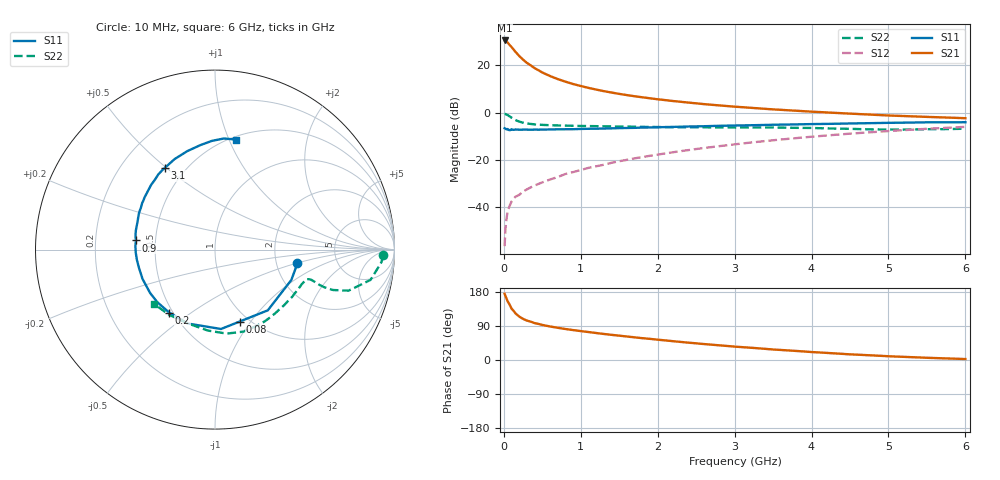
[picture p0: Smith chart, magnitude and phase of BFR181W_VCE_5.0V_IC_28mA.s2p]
! Infineon Technologies  Discrete & RF Semiconductors
! BFR181W
! VCE =  5.0 V,  IC =  28 mA
! Common Emitter S-Parameters:  Jan 2017
# GHz  S  MA  R  50
!  f  S11  S21  S12  S22
! GHz  MAG  ANG  MAG  ANG  MAG  ANG  MAG  ANG
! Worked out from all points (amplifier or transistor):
!   77 points, 10 MHz to 6 GHz, reference 50 ohm
!   highest |S21| = 30.5 dB at 10 MHz (marker M1)
!   |S21| within 3 dB of that: start of sweep to 105.8 MHz
!   unconditionally stable (mu >= 1): 389.9 MHz to 2.503 GHz
!   at 130 MHz: K = 0.56, MSG = 31.4 dB, |S12| = -36.4 dB
!   at 2.2 GHz: K = 1.05, MAG = 9.5 dB, |S12| = -16.8 dB
!   at 6 GHz: K = 0.89, MSG = 1.8 dB, |S12| = -6.1 dB
!   S11 on the Smith chart (normalised r, x): 10 MHz: 2.63, -0.52; 80 MHz: 0.91, -0.89; 200 MHz: 0.48, -0.41; 900 MHz: 0.39, +0.05; 3.1 GHz: 0.39, +0.50; 6 GHz: 0.53, +1.06
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0.01  0.4658 -9.5  33.33 175.0  0.0015 90.7  0.9378 -1.9
0.02  0.4577 -21.7  32.79 169.1  0.0033 88.7  0.9301 -4.3
0.05  0.4484 -49.0  30.09 154.6  0.0081 72.6  0.883 -11.0
0.08  0.4237 -71.0  26.2 144.1  0.0111 67.9  0.8189 -14.5
0.1  0.4435 -85.7  24.22 135.5  0.0131 66.0  0.7781 -17.1
0.15  0.439 -110.3  19.28 123.2  0.0166 60.1  0.6954 -18.9
0.2  0.4338 -126.1  15.65 114.6  0.0182 60.4  0.6426 -19.0
0.25  0.4349 -137.8  13.09 108.5  0.0214 61.7  0.6105 -18.6
0.3  0.4349 -146.3  11.2 104.0  0.0238 62.4  0.5869 -18.0
0.4  0.4355 -157.9  8.66 97.4  0.0287 66.4  0.5614 -17.4
0.5  0.4356 -166.3  7.01 92.5  0.0334 68.6  0.5484 -17.5
0.6  0.439 -172.7  5.909 88.5  0.0384 70.7  0.5395 -17.8
0.7  0.4419 -177.9  5.097 85.0  0.0433 73.2  0.5334 -18.5
0.9  0.444 173.4  4.005 79.0  0.0551 75.9  0.5247 -20.6
1.1  0.4536 166.5  3.318 73.8  0.0677 77.4  0.5179 -23.1
1.3  0.4584 160.3  2.828 68.7  0.0788 78.4  0.512 -26.1
1.5  0.468 155.2  2.477 64.2  0.0935 78.8  0.5059 -29.2
2.1  0.4924 140.9  1.827 51.7  0.1368 77.9  0.4918 -40.8
3.1  0.5345 121.4  1.296 33.9  0.2217 72.2  0.4831 -62.4
4.1  0.5725 104.2  1.024 19.9  0.3175 62.9  0.4668 -84.5
5.1  0.6082 90.4  0.854 9.1  0.4152 51.6  0.4367 -112.9
6  0.624 79.4  0.759 2.5  0.4978 40.6  0.4554 -138.5
